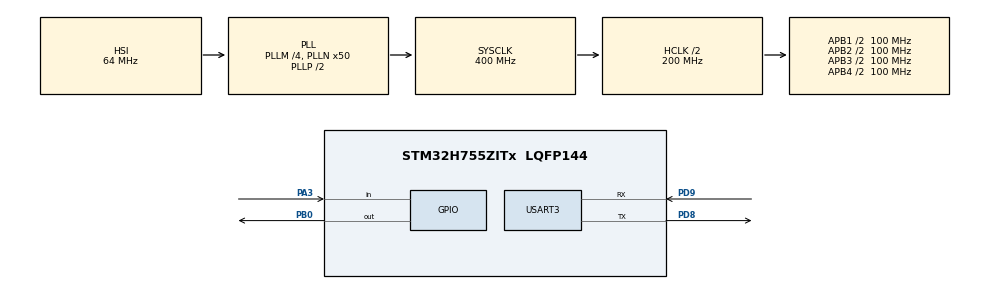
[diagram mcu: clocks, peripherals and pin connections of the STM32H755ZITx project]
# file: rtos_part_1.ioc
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CortexM4.IPs=FATFS_M4\:I,FREERTOS_M4\:I,IWDG2\:I,RCC,WWDG2\:I,DMA,BDMA,MDMA,NVIC2\:I,ETH,DEBUG,PDM2PCM_M4\:I,PWR,RESMGR_UTILITY,SYS_M4\:I,USB_DEVICE_M4\:I,USB_HOST_M4\:I,CORTEX_M4\:I,GPIO,OPENAMP_M4\:I,VREFBUF,NUCLEO-H755ZI-Q
CortexM7.IPs=FATFS_M7\:I,FREERTOS_M7\:I,IWDG1\:I,RCC\:I,WWDG1\:I,DMA\:I,BDMA\:I,MDMA\:I,NVIC1\:I,ETH\:I,USB_OTG_FS\:I,USB_OTG_FS1\:I,SYS\:I,CORTEX_M7\:I,DEBUG\:I,PDM2PCM_M7\:I,PWR\:I,RESMGR_UTILITY\:I,USB_DEVICE_M7\:I,USB_HOST_M7\:I,GPIO\:I,OPENAMP_M7\:I,VREFBUF\:I,NUCLEO-H755ZI-Q\:I,TIM6\:I,USART3\:I
CortexM7.Pins=PA3,PB0
FREERTOS_M7.Tasks01=Default_Task,24,512,Start_Default,Default,NULL,Dynamic,NULL,NULL
FREERTOS_M7.Timers01=Periodic_Timer,Pt_callback,osTimerPeriodic,Default,NULL,Dynamic,NULL;One_short,Ost_callback,osTimerOnce,Default,NULL,Dynamic,NULL
FREERTOS_M7.configUSE_NEWLIB_REENTRANT=1
Mcu.Family=STM32H7
Mcu.Name=STM32H755ZITx
Mcu.Package=LQFP144
NVIC1.PriorityGroup=NVIC_PRIORITYGROUP_4
NVIC1.TIM6_DAC_IRQn=true\:15\:0\:false\:false\:true\:false\:false\:true\:true
NVIC1.TimeBase=TIM6_DAC_IRQn
NVIC1.TimeBaseIP=TIM6
NVIC1.USART3_IRQn=true\:5\:0\:false\:false\:true\:true\:true\:true\:true
NVIC2.PriorityGroup=NVIC_PRIORITYGROUP_4
PA3.GPIO_PuPd=GPIO_PULLUP
PA3.PinAttribute=CortexM7
PA3.Signal=GPIO_Input
PB0.PinAttribute=CortexM7
PB0.PinState=GPIO_PIN_SET
PB0.Signal=GPIO_Output
PD8.Mode=Asynchronous
PD8.PinAttribute=CortexM7
PD8.Signal=USART3_TX
PD9.Mode=Asynchronous
PD9.PinAttribute=CortexM7
PD9.Signal=USART3_RX
ProjectManager.HeapSize=M4-0x200,M7-0x200
ProjectManager.StackSize=M4-0x400,M7-0x400
ProjectManager.TargetToolchain=STM32CubeIDE
RCC.ADCFreq_Value=129000000
RCC.APB1Freq_Value=100000000
RCC.APB2Freq_Value=100000000
RCC.APB3Freq_Value=100000000
RCC.APB4Freq_Value=100000000
RCC.CortexFreq_Value=400000000
RCC.D1PPRE=RCC_APB3_DIV2
RCC.D2PPRE1=RCC_APB1_DIV2
RCC.D2PPRE2=RCC_APB2_DIV2
RCC.D3PPRE=RCC_APB4_DIV2
RCC.DIVM1=4
RCC.DIVN1=50
RCC.DIVQ1=5
RCC.HCLKFreq_Value=200000000
RCC.HPRE=RCC_HCLK_DIV2
RCC.PLL2FRACN=0
RCC.PLL3FRACN=0
RCC.PLLFRACN=0
RCC.SYSCLKFreq_VALUE=400000000
RCC.SYSCLKSource=RCC_SYSCLKSOURCE_PLLCLK
RCC.SupplySource=PWR_DIRECT_SMPS_SUPPLY
RCC.USBFreq_Value=160000000
USART3.VirtualMode-Asynchronous=VM_ASYNC
VP_FREERTOS_M7_VS_CMSIS_V2.Mode=CMSIS_V2
VP_SYS_M4_VS_Systick.Mode=SysTick
VP_SYS_VS_tim6.Mode=TIM6
board=NUCLEO-H755ZI-Q

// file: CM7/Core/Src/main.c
/* USER CODE BEGIN Header */
/**
  ******************************************************************************
  * @file           : main.c
  * @brief          : Main program body
  ******************************************************************************
  * @attention
  *
  * Copyright (c) 2026 STMicroelectronics.
  * All rights reserved.
  *
  * This software is licensed under terms that can be found in the LICENSE file
  * in the root directory of this software component.
  * If no LICENSE file comes with this software, it is provided AS-IS.
  *
  ******************************************************************************
  */
/* USER CODE END Header */
#include "main.h"
#include "FreeRTOS.h"
#include "cmsis_os2.h"

/* USER CODE BEGIN Includes */
#include "stdio.h"
/* USER CODE END Includes */

/* USER CODE BEGIN PD */

/* DUAL_CORE_BOOT_SYNC_SEQUENCE: Define for dual core boot synchronization    */
/*                             demonstration code based on hardware semaphore */
/* This define is present in both CM7/CM4 projects                            */
/* To comment when developping/debugging on a single core                     */
#define DUAL_CORE_BOOT_SYNC_SEQUENCE

#if defined(DUAL_CORE_BOOT_SYNC_SEQUENCE)
#ifndef HSEM_ID_0
#define HSEM_ID_0 (0U) /* HW semaphore 0*/
#endif
#endif /* DUAL_CORE_BOOT_SYNC_SEQUENCE */

/* USER CODE END PD */

UART_HandleTypeDef huart3;

/* Definitions for Default_Task */
osThreadId_t Default_TaskHandle;
const osThreadAttr_t Default_Task_attributes = {
  .name = "Default_Task",
  .stack_size = 512 * 4,
  .priority = (osPriority_t) osPriorityNormal,
};
/* Definitions for Periodic_Timer */
osTimerId_t Periodic_TimerHandle;
const osTimerAttr_t Periodic_Timer_attributes = {
  .name = "Periodic_Timer"
};
/* Definitions for One_short */
osTimerId_t One_shortHandle;
const osTimerAttr_t One_short_attributes = {
  .name = "One_short"
};
/* USER CODE BEGIN PV */
#define BUTTON_PRESS (1<<3)
#define UART_RECEIVED (1<<4)
uint8_t data_rece[10];
/* USER CODE END PV */

void SystemClock_Config(void);
static void MX_GPIO_Init(void);
static void MX_USART3_UART_Init(void);
void Start_Default(void *argument);
void Pt_callback(void *argument);
void Ost_callback(void *argument);

/* USER CODE BEGIN 0 */
typedef struct {
	uint32_t timestamp;
	uint32_t event_id;
}message_q_t;
int _io_putchar(uint8_t ch){
	HAL_UART_Transmit(&huart3,&ch, 1, HAL_MAX_DELAY);
	return ch;
}
 int _write(int file, char *ptr, int len)
{
  (void)file;
  int DataIdx;

  for (DataIdx = 0; DataIdx < len; DataIdx++)
  {
	  _io_putchar(*ptr++);
  }
  return len;
}

// int getResource(char *taskName){
//	 for(int i=0;i<3;i++){
//		 if(strcmp(resourceowner[i],"free")==0)
//		 {
//			 resourceowner[i]=taskName;
//			 return i;
//		 }
//	 }
//	 return -1;
// }

// void printResourceTable(void){
//	 printf("\nResource Table \n");
//	 for(int i=0;i<3;i++){
//		 printf("resource %d -> %s\n",resources[i],resourceowner[i]);
//	 }
//	 printf("\n");
//
// }

/* USER CODE END 0 */

int main(void)
{

/* USER CODE BEGIN Boot_Mode_Sequence_0 */
//#if defined(DUAL_CORE_BOOT_SYNC_SEQUENCE)
//  int32_t timeout;
//#endif /* DUAL_CORE_BOOT_SYNC_SEQUENCE */
/* USER CODE END Boot_Mode_Sequence_0 */

/* USER CODE BEGIN Boot_Mode_Sequence_1 */
//#if defined(DUAL_CORE_BOOT_SYNC_SEQUENCE)
//  /* Wait until CPU2 boots and enters in stop mode or timeout*/
//  timeout = 0xFFFF;
//  while((__HAL_RCC_GET_FLAG(RCC_FLAG_D2CKRDY) != RESET) && (timeout-- > 0));
//  if ( timeout < 0 )
//  {
//  Error_Handler();
//  }
//#endif /* DUAL_CORE_BOOT_SYNC_SEQUENCE */
/* USER CODE END Boot_Mode_Sequence_1 */
  /* MCU Configuration--------------------------------------------------------*/

  /* Reset of all peripherals, Initializes the Flash interface and the Systick. */
  HAL_Init();

  /* Configure the system clock */
  SystemClock_Config();
/* USER CODE BEGIN Boot_Mode_Sequence_2 */
//#if defined(DUAL_CORE_BOOT_SYNC_SEQUENCE)
///* When system initialization is finished, Cortex-M7 will release Cortex-M4 by means of
//HSEM notification */
///*HW semaphore Clock enable*/
//__HAL_RCC_HSEM_CLK_ENABLE();
///*Take HSEM */
//HAL_HSEM_FastTake(HSEM_ID_0);
///*Release HSEM in order to notify the CPU2(CM4)*/
//HAL_HSEM_Release(HSEM_ID_0,0);
///* wait until CPU2 wakes up from stop mode */
//timeout = 0xFFFF;
//while((__HAL_RCC_GET_FLAG(RCC_FLAG_D2CKRDY) == RESET) && (timeout-- > 0));
//if ( timeout < 0 )
//{
//Error_Handler();
//}
//#endif /* DUAL_CORE_BOOT_SYNC_SEQUENCE */
/* USER CODE END Boot_Mode_Sequence_2 */

  /* Initialize all configured peripherals */
  MX_GPIO_Init();
  MX_USART3_UART_Init();
  /* USER CODE BEGIN 2 */
HAL_UART_Receive_IT(&huart3, data_rece, 5);
  /* USER CODE END 2 */

  /* Init scheduler */
  osKernelInitialize();

  /* Create the timer(s) */
  /* creation of Periodic_Timer */
  Periodic_TimerHandle = osTimerNew(Pt_callback, osTimerPeriodic, NULL, &Periodic_Timer_attributes);

  /* creation of One_short */
  One_shortHandle = osTimerNew(Ost_callback, osTimerOnce, NULL, &One_short_attributes);

  /* Create the thread(s) */
  /* creation of Default_Task */
  Default_TaskHandle = osThreadNew(Start_Default, NULL, &Default_Task_attributes);

  /* Start scheduler */
  osKernelStart();

  /* We should never get here as control is now taken by the scheduler */

  /* Infinite loop */
  while (1)
  {

  }
}

void SystemClock_Config(void)
{
  RCC_OscInitTypeDef RCC_OscInitStruct = {0};
  RCC_ClkInitTypeDef RCC_ClkInitStruct = {0};

  /** Supply configuration update enable
  */
  HAL_PWREx_ConfigSupply(PWR_DIRECT_SMPS_SUPPLY);

  /** Configure the main internal regulator output voltage
  */
  __HAL_PWR_VOLTAGESCALING_CONFIG(PWR_REGULATOR_VOLTAGE_SCALE1);

  while(!__HAL_PWR_GET_FLAG(PWR_FLAG_VOSRDY)) {}

  /** Initializes the RCC Oscillators according to the specified parameters
  * in the RCC_OscInitTypeDef structure.
  */
  RCC_OscInitStruct.OscillatorType = RCC_OSCILLATORTYPE_HSI;
  RCC_OscInitStruct.HSIState = RCC_HSI_DIV1;
  RCC_OscInitStruct.HSICalibrationValue = RCC_HSICALIBRATION_DEFAULT;
  RCC_OscInitStruct.PLL.PLLState = RCC_PLL_ON;
  RCC_OscInitStruct.PLL.PLLSource = RCC_PLLSOURCE_HSI;
  RCC_OscInitStruct.PLL.PLLM = 4;
  RCC_OscInitStruct.PLL.PLLN = 50;
  RCC_OscInitStruct.PLL.PLLP = 2;
  RCC_OscInitStruct.PLL.PLLQ = 5;
  RCC_OscInitStruct.PLL.PLLR = 2;
  RCC_OscInitStruct.PLL.PLLRGE = RCC_PLL1VCIRANGE_3;
  RCC_OscInitStruct.PLL.PLLVCOSEL = RCC_PLL1VCOWIDE;
  RCC_OscInitStruct.PLL.PLLFRACN = 0;
  if (HAL_RCC_OscConfig(&RCC_OscInitStruct) != HAL_OK)
  {
    Error_Handler();
  }

  /** Initializes the CPU, AHB and APB buses clocks
  */
  RCC_ClkInitStruct.ClockType = RCC_CLOCKTYPE_HCLK|RCC_CLOCKTYPE_SYSCLK
                              |RCC_CLOCKTYPE_PCLK1|RCC_CLOCKTYPE_PCLK2
                              |RCC_CLOCKTYPE_D3PCLK1|RCC_CLOCKTYPE_D1PCLK1;
  RCC_ClkInitStruct.SYSCLKSource = RCC_SYSCLKSOURCE_PLLCLK;
  RCC_ClkInitStruct.SYSCLKDivider = RCC_SYSCLK_DIV1;
  RCC_ClkInitStruct.AHBCLKDivider = RCC_HCLK_DIV2;
  RCC_ClkInitStruct.APB3CLKDivider = RCC_APB3_DIV2;
  RCC_ClkInitStruct.APB1CLKDivider = RCC_APB1_DIV2;
  RCC_ClkInitStruct.APB2CLKDivider = RCC_APB2_DIV2;
  RCC_ClkInitStruct.APB4CLKDivider = RCC_APB4_DIV2;

  if (HAL_RCC_ClockConfig(&RCC_ClkInitStruct, FLASH_LATENCY_2) != HAL_OK)
  {
    Error_Handler();
  }
}

static void MX_USART3_UART_Init(void)
{

  huart3.Instance = USART3;
  huart3.Init.BaudRate = 115200;
  huart3.Init.WordLength = UART_WORDLENGTH_8B;
  huart3.Init.StopBits = UART_STOPBITS_1;
  huart3.Init.Parity = UART_PARITY_NONE;
  huart3.Init.Mode = UART_MODE_TX_RX;
  huart3.Init.HwFlowCtl = UART_HWCONTROL_NONE;
  huart3.Init.OverSampling = UART_OVERSAMPLING_16;
  huart3.Init.OneBitSampling = UART_ONE_BIT_SAMPLE_DISABLE;
  huart3.Init.ClockPrescaler = UART_PRESCALER_DIV1;
  huart3.AdvancedInit.AdvFeatureInit = UART_ADVFEATURE_NO_INIT;
  if (HAL_UART_Init(&huart3) != HAL_OK)
  {
    Error_Handler();
  }
  if (HAL_UARTEx_SetTxFifoThreshold(&huart3, UART_TXFIFO_THRESHOLD_1_8) != HAL_OK)
  {
    Error_Handler();
  }
  if (HAL_UARTEx_SetRxFifoThreshold(&huart3, UART_RXFIFO_THRESHOLD_1_8) != HAL_OK)
  {
    Error_Handler();
  }
  if (HAL_UARTEx_DisableFifoMode(&huart3) != HAL_OK)
  {
    Error_Handler();
  }

}

static void MX_GPIO_Init(void)
{
  GPIO_InitTypeDef GPIO_InitStruct = {0};

  /* GPIO Ports Clock Enable */
  __HAL_RCC_GPIOA_CLK_ENABLE();
  __HAL_RCC_GPIOB_CLK_ENABLE();
  __HAL_RCC_GPIOD_CLK_ENABLE();

  /*Configure GPIO pin Output Level */
  HAL_GPIO_WritePin(GPIOB, GPIO_PIN_0, GPIO_PIN_SET);

  /*Configure GPIO pin : PA3 */
  GPIO_InitStruct.Pin = GPIO_PIN_3;
  GPIO_InitStruct.Mode = GPIO_MODE_INPUT;
  GPIO_InitStruct.Pull = GPIO_PULLUP;
  HAL_GPIO_Init(GPIOA, &GPIO_InitStruct);

  /*Configure GPIO pin : PB0 */
  GPIO_InitStruct.Pin = GPIO_PIN_0;
  GPIO_InitStruct.Mode = GPIO_MODE_OUTPUT_PP;
  GPIO_InitStruct.Pull = GPIO_NOPULL;
  GPIO_InitStruct.Speed = GPIO_SPEED_FREQ_LOW;
  HAL_GPIO_Init(GPIOB, &GPIO_InitStruct);

}

/* USER CODE BEGIN 4 */
#define TASK_EVENT_1 (1<<0)
#define TASK_EVENT_2 (1<<1)
#define TASK_EVENT_3 (1<<2)
#define TASK_EVENT_4 (1<<3)

/* USER CODE END 4 */

void Start_Default(void *argument)
{
  /* USER CODE BEGIN 5 */
  /* Infinite loop */
	osTimerStart(Periodic_TimerHandle, 1000);

  for(;;)
  {
if(HAL_GPIO_ReadPin(GPIOA, GPIO_PIN_3)==GPIO_PIN_RESET){
	HAL_GPIO_WritePin(GPIOB, GPIO_PIN_0,GPIO_PIN_RESET);
	osTimerStart(One_shortHandle, 5000);
	if (osTimerIsRunning(Periodic_TimerHandle) == 1){
		osTimerStop(Periodic_TimerHandle);
	}

}
osDelay(100);
  }
  /* USER CODE END 5 */
}

/* Pt_callback function */
void Pt_callback(void *argument)
{
  /* USER CODE BEGIN Pt_callback */

printf("Data sent from periodic callback\r\n");
  /* USER CODE END Pt_callback */
}

/* Ost_callback function */
void Ost_callback(void *argument)
{
  /* USER CODE BEGIN Ost_callback */
HAL_GPIO_WritePin(GPIOB, GPIO_PIN_0, GPIO_PIN_SET);
printf("#####TIMER OST FIRED AND TIMER EXECUTED\n");
if (osTimerIsRunning(Periodic_TimerHandle)==0)
{
	osTimerStart(Periodic_TimerHandle, 1000);
}

  /* USER CODE END Ost_callback */
}

void HAL_TIM_PeriodElapsedCallback(TIM_HandleTypeDef *htim)
{
  if (htim->Instance == TIM6)
  {
    HAL_IncTick();
  }
}

void Error_Handler(void)
{
  __disable_irq();
  while (1)
  {
  }
}
